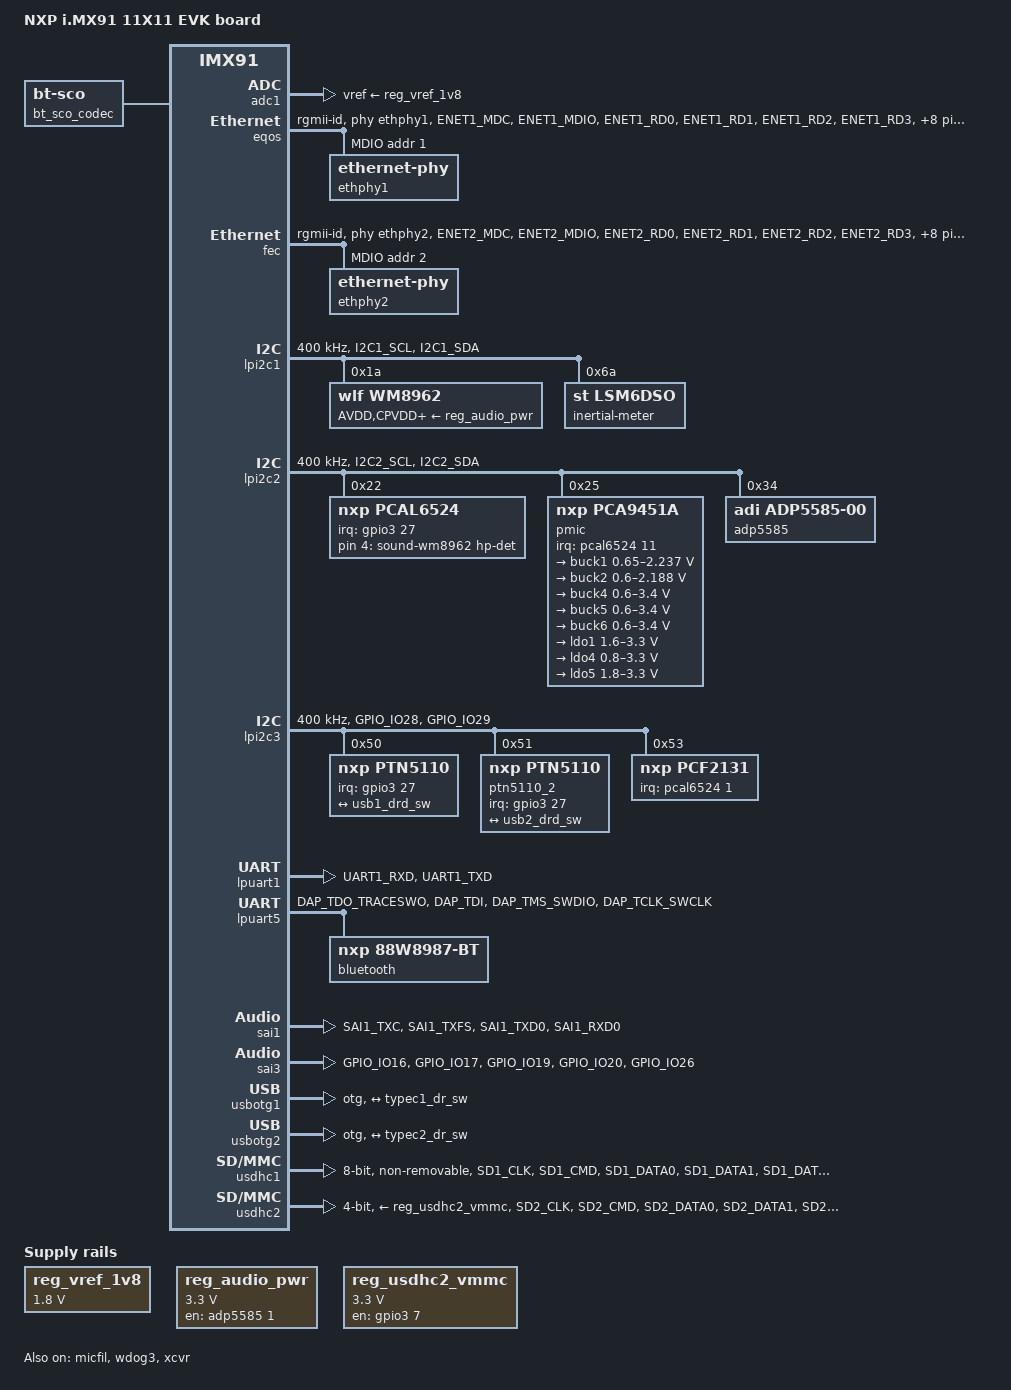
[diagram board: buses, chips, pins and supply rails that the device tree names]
// SPDX-License-Identifier: (GPL-2.0+ OR MIT)
/*
 * Copyright 2025 NXP
 */

/dts-v1/;

#include <dt-bindings/usb/pd.h>
#include "imx91.dtsi"

/ {
	compatible = "fsl,imx91-11x11-evk", "fsl,imx91";
	model = "NXP i.MX91 11X11 EVK board";

	aliases {
		ethernet0 = &fec;
		ethernet1 = &eqos;
		gpio0 = &gpio1;
		gpio1 = &gpio2;
		gpio2 = &gpio3;
		i2c0 = &lpi2c1;
		i2c1 = &lpi2c2;
		i2c2 = &lpi2c3;
		mmc0 = &usdhc1;
		mmc1 = &usdhc2;
		rtc0 = &bbnsm_rtc;
		serial0 = &lpuart1;
		serial1 = &lpuart2;
		serial2 = &lpuart3;
		serial3 = &lpuart4;
		serial4 = &lpuart5;
	};

	bt_sco_codec: bt-sco-codec {
		compatible = "linux,bt-sco";
		#sound-dai-cells = <1>;
	};

	chosen {
		stdout-path = &lpuart1;
	};

	reg_vref_1v8: regulator-adc-vref {
		compatible = "regulator-fixed";
		regulator-max-microvolt = <1800000>;
		regulator-min-microvolt = <1800000>;
		regulator-name = "vref_1v8";
	};

	reg_audio_pwr: regulator-audio-pwr {
		compatible = "regulator-fixed";
		regulator-always-on;
		regulator-max-microvolt = <3300000>;
		regulator-min-microvolt = <3300000>;
		regulator-name = "audio-pwr";
		gpio = <&adp5585 1 GPIO_ACTIVE_HIGH>;
		enable-active-high;
	};

	reg_usdhc2_vmmc: regulator-usdhc2 {
		compatible = "regulator-fixed";
		off-on-delay-us = <12000>;
		pinctrl-0 = <&pinctrl_reg_usdhc2_vmmc>;
		pinctrl-names = "default";
		regulator-max-microvolt = <3300000>;
		regulator-min-microvolt = <3300000>;
		regulator-name = "VSD_3V3";
		gpio = <&gpio3 7 GPIO_ACTIVE_HIGH>;
		enable-active-high;
	};

	reserved-memory {
		ranges;
		#address-cells = <2>;
		#size-cells = <2>;

		linux,cma {
			compatible = "shared-dma-pool";
			alloc-ranges = <0 0x80000000 0 0x40000000>;
			reusable;
			size = <0 0x10000000>;
			linux,cma-default;
		};
	};

	sound-wm8962 {
		compatible = "fsl,imx-audio-wm8962";
		model = "wm8962-audio";
		audio-cpu = <&sai3>;
		audio-codec = <&wm8962>;
		hp-det-gpio = <&pcal6524 4 GPIO_ACTIVE_HIGH>;
		audio-routing =
			"Headphone Jack", "HPOUTL",
			"Headphone Jack", "HPOUTR",
			"Ext Spk", "SPKOUTL",
			"Ext Spk", "SPKOUTR",
			"AMIC", "MICBIAS",
			"IN3R", "AMIC",
			"IN1R", "AMIC";
	};

	sound-bt-sco {
		compatible = "simple-audio-card";
		simple-audio-card,name = "bt-sco-audio";
		simple-audio-card,format = "dsp_a";
		simple-audio-card,bitclock-inversion;
		simple-audio-card,frame-master = <&btcpu>;
		simple-audio-card,bitclock-master = <&btcpu>;

		simple-audio-card,codec {
			sound-dai = <&bt_sco_codec 1>;
		};

		btcpu: simple-audio-card,cpu {
			sound-dai = <&sai1>;
			dai-tdm-slot-num = <2>;
			dai-tdm-slot-width = <16>;
		};
	};

	sound-micfil {
		compatible = "fsl,imx-audio-card";
		model = "micfil-audio";

		pri-dai-link {
			link-name = "micfil hifi";
			format = "i2s";

			cpu {
				sound-dai = <&micfil>;
			};
		};
	};

	sound-xcvr {
		compatible = "fsl,imx-audio-card";
		model = "imx-audio-xcvr";

		pri-dai-link {
			link-name = "XCVR PCM";

			cpu {
				sound-dai = <&xcvr>;
			};
		};
	};
};

&adc1 {
	vref-supply = <&reg_vref_1v8>;
	status = "okay";
};

&eqos {
	phy-handle = <&ethphy1>;
	phy-mode = "rgmii-id";
	pinctrl-0 = <&pinctrl_eqos>;
	pinctrl-1 = <&pinctrl_eqos_sleep>;
	pinctrl-names = "default", "sleep";
	status = "okay";

	mdio {
		compatible = "snps,dwmac-mdio";
		#address-cells = <1>;
		#size-cells = <0>;
		clock-frequency = <5000000>;

		ethphy1: ethernet-phy@1 {
			reg = <1>;
			realtek,clkout-disable;
		};
	};
};

&fec {
	phy-handle = <&ethphy2>;
	phy-mode = "rgmii-id";
	pinctrl-0 = <&pinctrl_fec>;
	pinctrl-1 = <&pinctrl_fec_sleep>;
	pinctrl-names = "default", "sleep";
	fsl,magic-packet;
	status = "okay";

	mdio {
		#address-cells = <1>;
		#size-cells = <0>;
		clock-frequency = <5000000>;

		ethphy2: ethernet-phy@2 {
			reg = <2>;
			realtek,clkout-disable;
		};
	};
};

&lpi2c1 {
	clock-frequency = <400000>;
	pinctrl-0 = <&pinctrl_lpi2c1>;
	pinctrl-names = "default";
	status = "okay";

	wm8962: audio-codec@1a {
		compatible = "wlf,wm8962";
		reg = <0x1a>;
		clocks = <&clk IMX93_CLK_SAI3_GATE>;
		AVDD-supply = <&reg_audio_pwr>;
		CPVDD-supply = <&reg_audio_pwr>;
		DBVDD-supply = <&reg_audio_pwr>;
		DCVDD-supply = <&reg_audio_pwr>;
		MICVDD-supply = <&reg_audio_pwr>;
		PLLVDD-supply = <&reg_audio_pwr>;
		SPKVDD1-supply = <&reg_audio_pwr>;
		SPKVDD2-supply = <&reg_audio_pwr>;
		gpio-cfg = <
			0x0000 /* 0:Default */
			0x0000 /* 1:Default */
			0x0000 /* 2:FN_DMICCLK */
			0x0000 /* 3:Default */
			0x0000 /* 4:FN_DMICCDAT */
			0x0000 /* 5:Default */
		>;
	};

	inertial-meter@6a {
		compatible = "st,lsm6dso";
		reg = <0x6a>;
	};
};

&lpi2c2 {
	#address-cells = <1>;
	#size-cells = <0>;
	clock-frequency = <400000>;
	pinctrl-0 = <&pinctrl_lpi2c2>;
	pinctrl-names = "default";
	status = "okay";

	pcal6524: gpio@22 {
		compatible = "nxp,pcal6524";
		reg = <0x22>;
		#interrupt-cells = <2>;
		interrupt-controller;
		interrupts = <27 IRQ_TYPE_LEVEL_LOW>;
		#gpio-cells = <2>;
		gpio-controller;
		interrupt-parent = <&gpio3>;
		pinctrl-0 = <&pinctrl_pcal6524>;
		pinctrl-names = "default";
	};

	pmic@25 {
		compatible = "nxp,pca9451a";
		reg = <0x25>;
		interrupts = <11 IRQ_TYPE_EDGE_FALLING>;
		interrupt-parent = <&pcal6524>;

		regulators {
			buck1: BUCK1 {
				regulator-always-on;
				regulator-boot-on;
				regulator-max-microvolt = <2237500>;
				regulator-min-microvolt = <650000>;
				regulator-name = "BUCK1";
				regulator-ramp-delay = <3125>;
			};

			buck2: BUCK2 {
				regulator-always-on;
				regulator-boot-on;
				regulator-max-microvolt = <2187500>;
				regulator-min-microvolt = <600000>;
				regulator-name = "BUCK2";
				regulator-ramp-delay = <3125>;
			};

			buck4: BUCK4 {
				regulator-always-on;
				regulator-boot-on;
				regulator-max-microvolt = <3400000>;
				regulator-min-microvolt = <600000>;
				regulator-name = "BUCK4";
			};

			buck5: BUCK5 {
				regulator-always-on;
				regulator-boot-on;
				regulator-max-microvolt = <3400000>;
				regulator-min-microvolt = <600000>;
				regulator-name = "BUCK5";
			};

			buck6: BUCK6 {
				regulator-always-on;
				regulator-boot-on;
				regulator-max-microvolt = <3400000>;
				regulator-min-microvolt = <600000>;
				regulator-name = "BUCK6";
			};

			ldo1: LDO1 {
				regulator-always-on;
				regulator-boot-on;
				regulator-max-microvolt = <3300000>;
				regulator-min-microvolt = <1600000>;
				regulator-name = "LDO1";
			};

			ldo4: LDO4 {
				regulator-always-on;
				regulator-boot-on;
				regulator-max-microvolt = <3300000>;
				regulator-min-microvolt = <800000>;
				regulator-name = "LDO4";
			};

			ldo5: LDO5 {
				regulator-always-on;
				regulator-boot-on;
				regulator-max-microvolt = <3300000>;
				regulator-min-microvolt = <1800000>;
				regulator-name = "LDO5";
			};
		};
	};

	adp5585: io-expander@34 {
		compatible = "adi,adp5585-00", "adi,adp5585";
		reg = <0x34>;
		#gpio-cells = <2>;
		gpio-controller;
		#pwm-cells = <3>;
		gpio-reserved-ranges = <5 1>;

		exp-sel-hog {
			gpio-hog;
			gpios = <4 GPIO_ACTIVE_HIGH>;
			output-low;
		};
	};
};

&lpi2c3 {
	#address-cells = <1>;
	#size-cells = <0>;
	clock-frequency = <400000>;
	pinctrl-0 = <&pinctrl_lpi2c3>;
	pinctrl-names = "default";
	status = "okay";

	ptn5110: tcpc@50 {
		compatible = "nxp,ptn5110", "tcpci";
		reg = <0x50>;
		interrupts = <27 IRQ_TYPE_LEVEL_LOW>;
		interrupt-parent = <&gpio3>;

		typec1_con: connector {
			compatible = "usb-c-connector";
			data-role = "dual";
			label = "USB-C";
			op-sink-microwatt = <15000000>;
			power-role = "dual";
			self-powered;
			sink-pdos = <PDO_FIXED(5000, 3000, PDO_FIXED_USB_COMM)
				     PDO_VAR(5000, 20000, 3000)>;
			source-pdos = <PDO_FIXED(5000, 3000, PDO_FIXED_USB_COMM)>;
			try-power-role = "sink";

			ports {
				#address-cells = <1>;
				#size-cells = <0>;

				port@0 {
					reg = <0>;

					typec1_dr_sw: endpoint {
						remote-endpoint = <&usb1_drd_sw>;
					};
				};
			};
		};
	};

	ptn5110_2: tcpc@51 {
		compatible = "nxp,ptn5110", "tcpci";
		reg = <0x51>;
		interrupts = <27 IRQ_TYPE_LEVEL_LOW>;
		interrupt-parent = <&gpio3>;
		status = "okay";

		typec2_con: connector {
			compatible = "usb-c-connector";
			data-role = "dual";
			label = "USB-C";
			op-sink-microwatt = <15000000>;
			power-role = "dual";
			self-powered;
			sink-pdos = <PDO_FIXED(5000, 3000, PDO_FIXED_USB_COMM)
				     PDO_VAR(5000, 20000, 3000)>;
			source-pdos = <PDO_FIXED(5000, 3000, PDO_FIXED_USB_COMM)>;
			try-power-role = "sink";

			ports {
				#address-cells = <1>;
				#size-cells = <0>;

				port@0 {
					reg = <0>;

					typec2_dr_sw: endpoint {
						remote-endpoint = <&usb2_drd_sw>;
					};
				};
			};
		};
	};

	pcf2131: rtc@53 {
		compatible = "nxp,pcf2131";
		reg = <0x53>;
		interrupts = <1 IRQ_TYPE_EDGE_FALLING>;
		interrupt-parent = <&pcal6524>;
		status = "okay";
	};
};

&lpuart1 {
	pinctrl-0 = <&pinctrl_uart1>;
	pinctrl-names = "default";
	status = "okay";
};

&lpuart5 {
	pinctrl-0 = <&pinctrl_uart5>;
	pinctrl-names = "default";
	status = "okay";

	bluetooth {
		compatible = "nxp,88w8987-bt";
	};
};

&micfil {
	pinctrl-names = "default", "sleep";
	pinctrl-0 = <&pinctrl_pdm>;
	pinctrl-1 = <&pinctrl_pdm_sleep>;
	assigned-clocks = <&clk IMX93_CLK_PDM>;
	assigned-clock-parents = <&clk IMX93_CLK_AUDIO_PLL>;
	assigned-clock-rates = <49152000>;
	status = "okay";
};

&sai1 {
	pinctrl-names = "default", "sleep";
	pinctrl-0 = <&pinctrl_sai1>;
	pinctrl-1 = <&pinctrl_sai1_sleep>;
	assigned-clocks = <&clk IMX93_CLK_SAI1>;
	assigned-clock-parents = <&clk IMX93_CLK_AUDIO_PLL>;
	assigned-clock-rates = <12288000>;
	fsl,sai-mclk-direction-output;
	status = "okay";
};

&sai3 {
	pinctrl-names = "default", "sleep";
	pinctrl-0 = <&pinctrl_sai3>;
	pinctrl-1 = <&pinctrl_sai3_sleep>;
	assigned-clocks = <&clk IMX93_CLK_SAI3>;
	assigned-clock-parents = <&clk IMX93_CLK_AUDIO_PLL>;
	assigned-clock-rates = <12288000>;
	fsl,sai-mclk-direction-output;
	status = "okay";
};

&usbotg1 {
	adp-disable;
	disable-over-current;
	dr_mode = "otg";
	hnp-disable;
	srp-disable;
	usb-role-switch;
	samsung,picophy-dc-vol-level-adjust = <7>;
	samsung,picophy-pre-emp-curr-control = <3>;
	status = "okay";

	port {
		usb1_drd_sw: endpoint {
			remote-endpoint = <&typec1_dr_sw>;
		};
	};
};

&usbotg2 {
	adp-disable;
	disable-over-current;
	dr_mode = "otg";
	hnp-disable;
	srp-disable;
	usb-role-switch;
	samsung,picophy-dc-vol-level-adjust = <7>;
	samsung,picophy-pre-emp-curr-control = <3>;
	status = "okay";

	port {
		usb2_drd_sw: endpoint {
			remote-endpoint = <&typec2_dr_sw>;
		};
	};
};

&usdhc1 {
	bus-width = <8>;
	non-removable;
	pinctrl-0 = <&pinctrl_usdhc1>;
	pinctrl-1 = <&pinctrl_usdhc1_100mhz>;
	pinctrl-2 = <&pinctrl_usdhc1_200mhz>;
	pinctrl-names = "default", "state_100mhz", "state_200mhz";
	status = "okay";
};

&usdhc2 {
	bus-width = <4>;
	cd-gpios = <&gpio3 00 GPIO_ACTIVE_LOW>;
	no-mmc;
	no-sdio;
	pinctrl-0 = <&pinctrl_usdhc2>, <&pinctrl_usdhc2_gpio>;
	pinctrl-1 = <&pinctrl_usdhc2_100mhz>, <&pinctrl_usdhc2_gpio>;
	pinctrl-2 = <&pinctrl_usdhc2_200mhz>, <&pinctrl_usdhc2_gpio>;
	pinctrl-3 = <&pinctrl_usdhc2_sleep>, <&pinctrl_usdhc2_gpio_sleep>;
	pinctrl-names = "default", "state_100mhz", "state_200mhz", "sleep";
	vmmc-supply = <&reg_usdhc2_vmmc>;
	status = "okay";
};

&wdog3 {
	fsl,ext-reset-output;
	status = "okay";
};

&xcvr {
	pinctrl-names = "default", "sleep";
	pinctrl-0 = <&pinctrl_spdif>;
	pinctrl-1 = <&pinctrl_spdif_sleep>;
	assigned-clocks = <&clk IMX93_CLK_SPDIF>,
			  <&clk IMX93_CLK_AUDIO_XCVR>;
	assigned-clock-parents = <&clk IMX93_CLK_AUDIO_PLL>,
				 <&clk IMX93_CLK_SYS_PLL_PFD1_DIV2>;
	assigned-clock-rates = <12288000>, <200000000>;
	status = "okay";
};

&iomuxc {
	pinctrl_eqos: eqosgrp {
		fsl,pins = <
			MX91_PAD_ENET1_MDC__ENET1_MDC                           0x57e
			MX91_PAD_ENET1_MDIO__ENET_QOS_MDIO                      0x57e
			MX91_PAD_ENET1_RD0__ENET_QOS_RGMII_RD0                  0x57e
			MX91_PAD_ENET1_RD1__ENET_QOS_RGMII_RD1                  0x57e
			MX91_PAD_ENET1_RD2__ENET_QOS_RGMII_RD2                  0x57e
			MX91_PAD_ENET1_RD3__ENET_QOS_RGMII_RD3                  0x57e
			MX91_PAD_ENET1_RXC__ENET_QOS_RGMII_RXC                  0x5fe
			MX91_PAD_ENET1_RX_CTL__ENET_QOS_RGMII_RX_CTL            0x57e
			MX91_PAD_ENET1_TD0__ENET_QOS_RGMII_TD0                  0x57e
			MX91_PAD_ENET1_TD1__ENET1_RGMII_TD1                     0x57e
			MX91_PAD_ENET1_TD2__ENET_QOS_RGMII_TD2                  0x57e
			MX91_PAD_ENET1_TD3__ENET_QOS_RGMII_TD3                  0x57e
			MX91_PAD_ENET1_TXC__CCM_ENET_QOS_CLOCK_GENERATE_TX_CLK  0x5fe
			MX91_PAD_ENET1_TX_CTL__ENET_QOS_RGMII_TX_CTL            0x57e
		>;
	};

	pinctrl_eqos_sleep: eqossleepgrp {
		fsl,pins = <
			MX91_PAD_ENET1_MDC__GPIO4_IO0                           0x31e
			MX91_PAD_ENET1_MDIO__GPIO4_IO1                          0x31e
			MX91_PAD_ENET1_RD0__GPIO4_IO10                          0x31e
			MX91_PAD_ENET1_RD1__GPIO4_IO11                          0x31e
			MX91_PAD_ENET1_RD2__GPIO4_IO12                          0x31e
			MX91_PAD_ENET1_RD3__GPIO4_IO13                          0x31e
			MX91_PAD_ENET1_RXC__GPIO4_IO9                           0x31e
			MX91_PAD_ENET1_RX_CTL__GPIO4_IO8                        0x31e
			MX91_PAD_ENET1_TD0__GPIO4_IO5                           0x31e
			MX91_PAD_ENET1_TD1__GPIO4_IO4                           0x31e
			MX91_PAD_ENET1_TD2__GPIO4_IO3                           0x31e
			MX91_PAD_ENET1_TD3__GPIO4_IO2                           0x31e
			MX91_PAD_ENET1_TXC__GPIO4_IO7                           0x31e
			MX91_PAD_ENET1_TX_CTL__GPIO4_IO6                        0x31e
		>;
	};

	pinctrl_fec: fecgrp {
		fsl,pins = <
			MX91_PAD_ENET2_MDC__ENET2_MDC                           0x57e
			MX91_PAD_ENET2_MDIO__ENET2_MDIO                         0x57e
			MX91_PAD_ENET2_RD0__ENET2_RGMII_RD0                     0x57e
			MX91_PAD_ENET2_RD1__ENET2_RGMII_RD1                     0x57e
			MX91_PAD_ENET2_RD2__ENET2_RGMII_RD2                     0x57e
			MX91_PAD_ENET2_RD3__ENET2_RGMII_RD3                     0x57e
			MX91_PAD_ENET2_RXC__ENET2_RGMII_RXC                     0x5fe
			MX91_PAD_ENET2_RX_CTL__ENET2_RGMII_RX_CTL               0x57e
			MX91_PAD_ENET2_TD0__ENET2_RGMII_TD0                     0x57e
			MX91_PAD_ENET2_TD1__ENET2_RGMII_TD1                     0x57e
			MX91_PAD_ENET2_TD2__ENET2_RGMII_TD2                     0x57e
			MX91_PAD_ENET2_TD3__ENET2_RGMII_TD3                     0x57e
			MX91_PAD_ENET2_TXC__ENET2_RGMII_TXC                     0x5fe
			MX91_PAD_ENET2_TX_CTL__ENET2_RGMII_TX_CTL               0x57e
		>;
	};

	pinctrl_fec_sleep: fecsleepgrp {
		fsl,pins = <
			MX91_PAD_ENET2_MDC__GPIO4_IO14                          0x51e
			MX91_PAD_ENET2_MDIO__GPIO4_IO15                         0x51e
			MX91_PAD_ENET2_RD0__GPIO4_IO24                          0x51e
			MX91_PAD_ENET2_RD1__GPIO4_IO25                          0x51e
			MX91_PAD_ENET2_RD2__GPIO4_IO26                          0x51e
			MX91_PAD_ENET2_RD3__GPIO4_IO27                          0x51e
			MX91_PAD_ENET2_RXC__GPIO4_IO23                          0x51e
			MX91_PAD_ENET2_RX_CTL__GPIO4_IO22                       0x51e
			MX91_PAD_ENET2_TD0__GPIO4_IO19                          0x51e
			MX91_PAD_ENET2_TD1__GPIO4_IO18                          0x51e
			MX91_PAD_ENET2_TD2__GPIO4_IO17                          0x51e
			MX91_PAD_ENET2_TD3__GPIO4_IO16                          0x51e
			MX91_PAD_ENET2_TXC__GPIO4_IO21                          0x51e
			MX91_PAD_ENET2_TX_CTL__GPIO4_IO20                       0x51e
		>;
	};

	pinctrl_lpi2c1: lpi2c1grp {
		fsl,pins = <
			MX91_PAD_I2C1_SCL__LPI2C1_SCL                           0x40000b9e
			MX91_PAD_I2C1_SDA__LPI2C1_SDA                           0x40000b9e
		>;
	};

	pinctrl_lpi2c2: lpi2c2grp {
		fsl,pins = <
			MX91_PAD_I2C2_SCL__LPI2C2_SCL                           0x40000b9e
			MX91_PAD_I2C2_SDA__LPI2C2_SDA                           0x40000b9e
		>;
	};

	pinctrl_pdm: pdmgrp {
		fsl,pins = <
			MX91_PAD_PDM_CLK__PDM_CLK			0x31e
			MX91_PAD_PDM_BIT_STREAM0__PDM_BIT_STREAM0	0x31e
			MX91_PAD_PDM_BIT_STREAM1__PDM_BIT_STREAM1	0x31e
		>;
	};

	pinctrl_pdm_sleep: pdmsleepgrp {
		fsl,pins = <
			MX91_PAD_PDM_CLK__GPIO1_IO8			0x51e
			MX91_PAD_PDM_BIT_STREAM0__GPIO1_IO9		0x51e
			MX91_PAD_PDM_BIT_STREAM1__GPIO1_IO10		0x51e
		>;
	};

	pinctrl_sai1: sai1grp {
		fsl,pins = <
			MX91_PAD_SAI1_TXC__SAI1_TX_BCLK			0x31e
			MX91_PAD_SAI1_TXFS__SAI1_TX_SYNC		0x31e
			MX91_PAD_SAI1_TXD0__SAI1_TX_DATA0		0x31e
			MX91_PAD_SAI1_RXD0__SAI1_RX_DATA0		0x31e
		>;
	};

	pinctrl_sai1_sleep: sai1sleepgrp {
		fsl,pins = <
			MX91_PAD_SAI1_TXC__GPIO1_IO12			0x51e
			MX91_PAD_SAI1_TXFS__GPIO1_IO11			0x51e
			MX91_PAD_SAI1_TXD0__GPIO1_IO13			0x51e
			MX91_PAD_SAI1_RXD0__GPIO1_IO14			0x51e
		>;
	};

	pinctrl_sai3: sai3grp {
		fsl,pins = <
			MX91_PAD_GPIO_IO16__SAI3_TX_BCLK		0x31e
			MX91_PAD_GPIO_IO17__SAI3_MCLK			0x31e
			MX91_PAD_GPIO_IO19__SAI3_TX_DATA0		0x31e
			MX91_PAD_GPIO_IO20__SAI3_RX_DATA0		0x31e
			MX91_PAD_GPIO_IO26__SAI3_TX_SYNC		0x31e
		>;
	};

	pinctrl_sai3_sleep: sai3sleepgrp {
		fsl,pins = <
			MX91_PAD_GPIO_IO16__GPIO2_IO16			0x51e
			MX91_PAD_GPIO_IO17__GPIO2_IO17			0x51e
			MX91_PAD_GPIO_IO19__GPIO2_IO19			0x51e
			MX91_PAD_GPIO_IO20__GPIO2_IO20			0x51e
			MX91_PAD_GPIO_IO26__GPIO2_IO26			0x51e
		>;
	};

	pinctrl_spdif: spdifgrp {
		fsl,pins = <
			MX91_PAD_GPIO_IO22__SPDIF_IN			0x31e
			MX91_PAD_GPIO_IO23__SPDIF_OUT			0x31e
		>;
	};

	pinctrl_spdif_sleep: spdifsleepgrp {
		fsl,pins = <
			MX91_PAD_GPIO_IO22__GPIO2_IO22			0x51e
			MX91_PAD_GPIO_IO23__GPIO2_IO23			0x51e
		>;
	};

	pinctrl_lpi2c3: lpi2c3grp {
		fsl,pins = <
			MX91_PAD_GPIO_IO28__LPI2C3_SDA                          0x40000b9e
			MX91_PAD_GPIO_IO29__LPI2C3_SCL                          0x40000b9e
		>;
	};

	pinctrl_pcal6524: pcal6524grp {
		fsl,pins = <
			MX91_PAD_CCM_CLKO2__GPIO3_IO27                          0x31e
		>;
	};

	pinctrl_reg_usdhc2_vmmc: regusdhc2vmmcgrp {
		fsl,pins = <
			MX91_PAD_SD2_RESET_B__GPIO3_IO7                         0x31e
		>;
	};

	pinctrl_uart1: uart1grp {
		fsl,pins = <
			MX91_PAD_UART1_RXD__LPUART1_RX                          0x31e
			MX91_PAD_UART1_TXD__LPUART1_TX                          0x31e
		>;
	};

	pinctrl_uart5: uart5grp {
		fsl,pins = <
			MX91_PAD_DAP_TDO_TRACESWO__LPUART5_TX                   0x31e
			MX91_PAD_DAP_TDI__LPUART5_RX                            0x31e
			MX91_PAD_DAP_TMS_SWDIO__LPUART5_RTS_B                   0x31e
			MX91_PAD_DAP_TCLK_SWCLK__LPUART5_CTS_B                  0x31e
		>;
	};

	pinctrl_usdhc1_100mhz: usdhc1-100mhzgrp {
		fsl,pins = <
			MX91_PAD_SD1_CLK__USDHC1_CLK                            0x158e
			MX91_PAD_SD1_CMD__USDHC1_CMD                            0x138e
			MX91_PAD_SD1_DATA0__USDHC1_DATA0                        0x138e
			MX91_PAD_SD1_DATA1__USDHC1_DATA1                        0x138e
			MX91_PAD_SD1_DATA2__USDHC1_DATA2                        0x138e
			MX91_PAD_SD1_DATA3__USDHC1_DATA3                        0x138e
			MX91_PAD_SD1_DATA4__USDHC1_DATA4                        0x138e
			MX91_PAD_SD1_DATA5__USDHC1_DATA5                        0x138e
			MX91_PAD_SD1_DATA6__USDHC1_DATA6                        0x138e
			MX91_PAD_SD1_DATA7__USDHC1_DATA7                        0x138e
			MX91_PAD_SD1_STROBE__USDHC1_STROBE                      0x158e
		>;
	};

	pinctrl_usdhc1_200mhz: usdhc1-200mhzgrp {
		fsl,pins = <
			MX91_PAD_SD1_CLK__USDHC1_CLK                            0x15fe
			MX91_PAD_SD1_CMD__USDHC1_CMD                            0x13fe
			MX91_PAD_SD1_DATA0__USDHC1_DATA0                        0x13fe
			MX91_PAD_SD1_DATA1__USDHC1_DATA1                        0x13fe
			MX91_PAD_SD1_DATA2__USDHC1_DATA2                        0x13fe
			MX91_PAD_SD1_DATA3__USDHC1_DATA3                        0x13fe
			MX91_PAD_SD1_DATA4__USDHC1_DATA4                        0x13fe
			MX91_PAD_SD1_DATA5__USDHC1_DATA5                        0x13fe
			MX91_PAD_SD1_DATA6__USDHC1_DATA6                        0x13fe
			MX91_PAD_SD1_DATA7__USDHC1_DATA7                        0x13fe
			MX91_PAD_SD1_STROBE__USDHC1_STROBE                      0x15fe
		>;
	};

	pinctrl_usdhc1: usdhc1grp {
		fsl,pins = <
			MX91_PAD_SD1_CLK__USDHC1_CLK                            0x1582
			MX91_PAD_SD1_CMD__USDHC1_CMD                            0x1382
			MX91_PAD_SD1_DATA0__USDHC1_DATA0                        0x1382
			MX91_PAD_SD1_DATA1__USDHC1_DATA1                        0x1382
			MX91_PAD_SD1_DATA2__USDHC1_DATA2                        0x1382
			MX91_PAD_SD1_DATA3__USDHC1_DATA3                        0x1382
			MX91_PAD_SD1_DATA4__USDHC1_DATA4                        0x1382
			MX91_PAD_SD1_DATA5__USDHC1_DATA5                        0x1382
			MX91_PAD_SD1_DATA6__USDHC1_DATA6                        0x1382
			MX91_PAD_SD1_DATA7__USDHC1_DATA7                        0x1382
			MX91_PAD_SD1_STROBE__USDHC1_STROBE                      0x1582
		>;
	};

	pinctrl_usdhc2_100mhz: usdhc2-100mhzgrp {
		fsl,pins = <
			MX91_PAD_SD2_CLK__USDHC2_CLK                            0x158e
			MX91_PAD_SD2_CMD__USDHC2_CMD                            0x138e
			MX91_PAD_SD2_DATA0__USDHC2_DATA0                        0x138e
			MX91_PAD_SD2_DATA1__USDHC2_DATA1                        0x138e
			MX91_PAD_SD2_DATA2__USDHC2_DATA2                        0x138e
			MX91_PAD_SD2_DATA3__USDHC2_DATA3                        0x138e
			MX91_PAD_SD2_VSELECT__USDHC2_VSELECT                    0x51e
		>;
	};

	pinctrl_usdhc2_200mhz: usdhc2-200mhzgrp {
		fsl,pins = <
			MX91_PAD_SD2_CLK__USDHC2_CLK                            0x15fe
			MX91_PAD_SD2_CMD__USDHC2_CMD                            0x13fe
			MX91_PAD_SD2_DATA0__USDHC2_DATA0                        0x13fe
			MX91_PAD_SD2_DATA1__USDHC2_DATA1                        0x13fe
			MX91_PAD_SD2_DATA2__USDHC2_DATA2                        0x13fe
			MX91_PAD_SD2_DATA3__USDHC2_DATA3                        0x13fe
			MX91_PAD_SD2_VSELECT__USDHC2_VSELECT                    0x51e
		>;
	};

	pinctrl_usdhc2_gpio: usdhc2gpiogrp {
		fsl,pins = <
			MX91_PAD_SD2_CD_B__GPIO3_IO0                            0x31e
		>;
	};

	pinctrl_usdhc2_gpio_sleep: usdhc2gpiosleepgrp {
		fsl,pins = <
			MX91_PAD_SD2_CD_B__GPIO3_IO0                            0x51e
		>;
	};

	pinctrl_usdhc2: usdhc2grp {
		fsl,pins = <
			MX91_PAD_SD2_CLK__USDHC2_CLK                            0x1582
			MX91_PAD_SD2_CMD__USDHC2_CMD                            0x1382
			MX91_PAD_SD2_DATA0__USDHC2_DATA0                        0x1382
			MX91_PAD_SD2_DATA1__USDHC2_DATA1                        0x1382
			MX91_PAD_SD2_DATA2__USDHC2_DATA2                        0x1382
			MX91_PAD_SD2_DATA3__USDHC2_DATA3                        0x1382
			MX91_PAD_SD2_VSELECT__USDHC2_VSELECT                    0x51e
		>;
	};

	pinctrl_usdhc2_sleep: usdhc2sleepgrp {
		fsl,pins = <
			MX91_PAD_SD2_CLK__GPIO3_IO1                             0x51e
			MX91_PAD_SD2_CMD__GPIO3_IO2                             0x51e
			MX91_PAD_SD2_DATA0__GPIO3_IO3                           0x51e
			MX91_PAD_SD2_DATA1__GPIO3_IO4                           0x51e
			MX91_PAD_SD2_DATA2__GPIO3_IO5                           0x51e
			MX91_PAD_SD2_DATA3__GPIO3_IO6                           0x51e
			MX91_PAD_SD2_VSELECT__GPIO3_IO19                        0x51e
		>;
	};

};
